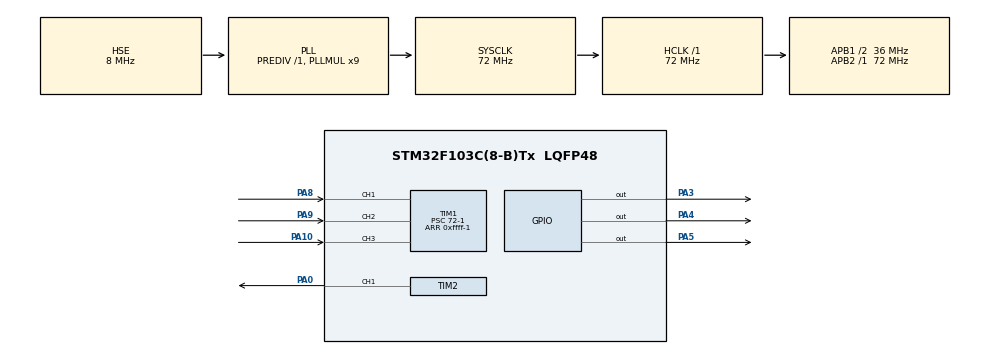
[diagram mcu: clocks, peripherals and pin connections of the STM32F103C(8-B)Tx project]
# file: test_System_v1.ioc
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Dma.Request0=TIM2_CH1
Dma.TIM2_CH1.0.Direction=DMA_MEMORY_TO_PERIPH
Dma.TIM2_CH1.0.Instance=DMA1_Channel5
Dma.TIM2_CH1.0.MemDataAlignment=DMA_MDATAALIGN_HALFWORD
Dma.TIM2_CH1.0.MemInc=DMA_MINC_ENABLE
Dma.TIM2_CH1.0.Mode=DMA_NORMAL
Dma.TIM2_CH1.0.PeriphDataAlignment=DMA_PDATAALIGN_HALFWORD
Dma.TIM2_CH1.0.PeriphInc=DMA_PINC_DISABLE
Dma.TIM2_CH1.0.Priority=DMA_PRIORITY_LOW
Mcu.Family=STM32F1
Mcu.Name=STM32F103C(8-B)Tx
Mcu.Package=LQFP48
NVIC.DMA1_Channel5_IRQn=true\:0\:0\:false\:false\:true\:false\:true\:true
NVIC.PriorityGroup=NVIC_PRIORITYGROUP_4
NVIC.TIM1_CC_IRQn=true\:0\:0\:false\:false\:true\:true\:true\:true
PA0-WKUP.Signal=S_TIM2_CH1_ETR
PA10.Signal=S_TIM1_CH3
PA13.Mode=Serial_Wire
PA13.Signal=SYS_JTMS-SWDIO
PA14.Mode=Serial_Wire
PA14.Signal=SYS_JTCK-SWCLK
PA3.Signal=GPIO_Output
PA4.Signal=GPIO_Output
PA5.Signal=GPIO_Output
PA8.Signal=S_TIM1_CH1
PA9.Signal=S_TIM1_CH2
PD0-OSC_IN.Mode=HSE-External-Oscillator
PD0-OSC_IN.Signal=RCC_OSC_IN
PD1-OSC_OUT.Mode=HSE-External-Oscillator
PD1-OSC_OUT.Signal=RCC_OSC_OUT
ProjectManager.HeapSize=0x200
ProjectManager.StackSize=0x400
ProjectManager.TargetToolchain=STM32CubeIDE
RCC.AHBFreq_Value=72000000
RCC.APB1CLKDivider=RCC_HCLK_DIV2
RCC.APB1Freq_Value=36000000
RCC.APB1TimFreq_Value=72000000
RCC.APB2Freq_Value=72000000
RCC.APB2TimFreq_Value=72000000
RCC.HCLKFreq_Value=72000000
RCC.PLLMUL=RCC_PLL_MUL9
RCC.PLLSourceVirtual=RCC_PLLSOURCE_HSE
RCC.SYSCLKFreq_VALUE=72000000
RCC.SYSCLKSource=RCC_SYSCLKSOURCE_PLLCLK
RCC.USBFreq_Value=72000000
SH.S_TIM1_CH1.0=TIM1_CH1,Input_Capture1_from_TI1
SH.S_TIM1_CH2.0=TIM1_CH2,Input_Capture2_from_TI2
SH.S_TIM1_CH3.0=TIM1_CH3,Input_Capture3_from_TI3
SH.S_TIM2_CH1_ETR.0=TIM2_CH1,PWM Generation1 CH1
TIM1.Channel-Input_Capture1_from_TI1=TIM_CHANNEL_1
TIM1.Channel-Input_Capture2_from_TI2=TIM_CHANNEL_2
TIM1.Channel-Input_Capture3_from_TI3=TIM_CHANNEL_3
TIM1.Period=0xffff-1
TIM1.Prescaler=72-1
TIM2.Channel-PWM\ Generation1\ CH1=TIM_CHANNEL_1
TIM2.Period=100-1
TIM2.Prescaler=72-1
VP_TIM1_VS_ClockSourceINT.Mode=Internal
VP_TIM2_VS_ClockSourceINT.Mode=Internal
board=custom

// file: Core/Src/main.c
/* USER CODE BEGIN Header */
/**
  ******************************************************************************
  * @file           : main.c
  * @brief          : Main program body
  ******************************************************************************
  * @attention
  *
  * Copyright (c) 2024 STMicroelectronics.
  * All rights reserved.
  *
  * This software is licensed under terms that can be found in the LICENSE file
  * in the root directory of this software component.
  * If no LICENSE file comes with this software, it is provided AS-IS.
  *
  ******************************************************************************
  */
/* USER CODE END Header */
#include "main.h"

TIM_HandleTypeDef htim1;
TIM_HandleTypeDef htim2;
DMA_HandleTypeDef hdma_tim2_ch1;

/* USER CODE BEGIN PV */

motor_t motor;

sr04_t sr04_1;
sr04_t sr04_2;
sr04_t sr04_3;

/* USER CODE END PV */

void SystemClock_Config(void);
static void MX_GPIO_Init(void);
static void MX_DMA_Init(void);
static void MX_TIM1_Init(void);
static void MX_TIM2_Init(void);

int main(void)
{

  /* MCU Configuration--------------------------------------------------------*/

  /* Reset of all peripherals, Initializes the Flash interface and the Systick. */
  HAL_Init();

  /* Configure the system clock */
  SystemClock_Config();

  /* Initialize all configured peripherals */
  MX_GPIO_Init();
  MX_DMA_Init();
  MX_TIM1_Init();
  MX_TIM2_Init();
  /* USER CODE BEGIN 2 */

  /* Motor Config */
  motor.motor_channel = TIM_CHANNEL_1;
  motor.motor_htim = &htim2;
  motor.motor_htim->Instance->CCR1 = 0;
  motor.distance = 200000;
  motor_init(&motor);

  /* Sensor 1 Config */
  sr04_1.trig_port = GPIOA;
  sr04_1.trig_pin = GPIO_PIN_3;
  sr04_1.echo_htim = &htim1;
  sr04_1.echo_channel = TIM_CHANNEL_1;
  //sr04_1.motor = motor;
  sr04_init(&sr04_1);

  /* Sensor 2 Config */
  sr04_2.trig_port = GPIOA;
  sr04_2.trig_pin = GPIO_PIN_4;
  sr04_2.echo_htim = &htim1;
  sr04_2.echo_channel = TIM_CHANNEL_2;
  //sr04_2.motor = motor;
  sr04_init(&sr04_2);

  /* Sensor 3 Config */
  sr04_3.trig_port = GPIOA;
  sr04_3.trig_pin = GPIO_PIN_5;
  sr04_3.echo_htim = &htim1;
  sr04_3.echo_channel = TIM_CHANNEL_3;
  //sr04_3.motor = motor;
  sr04_init(&sr04_3);

  /* USER CODE END 2 */

  /* Infinite loop */
  while (1){

    /* USER CODE BEGIN 3 */
	sr04_trigger(&sr04_1);
	sr04_trigger(&sr04_2);
	sr04_trigger(&sr04_3);

	motor_pulse(motor);
  }
  /* USER CODE END 3 */
}

void SystemClock_Config(void)
{
  RCC_OscInitTypeDef RCC_OscInitStruct = {0};
  RCC_ClkInitTypeDef RCC_ClkInitStruct = {0};

  /** Initializes the RCC Oscillators according to the specified parameters
  * in the RCC_OscInitTypeDef structure.
  */
  RCC_OscInitStruct.OscillatorType = RCC_OSCILLATORTYPE_HSE;
  RCC_OscInitStruct.HSEState = RCC_HSE_ON;
  RCC_OscInitStruct.HSEPredivValue = RCC_HSE_PREDIV_DIV1;
  RCC_OscInitStruct.HSIState = RCC_HSI_ON;
  RCC_OscInitStruct.PLL.PLLState = RCC_PLL_ON;
  RCC_OscInitStruct.PLL.PLLSource = RCC_PLLSOURCE_HSE;
  RCC_OscInitStruct.PLL.PLLMUL = RCC_PLL_MUL9;
  if (HAL_RCC_OscConfig(&RCC_OscInitStruct) != HAL_OK)
  {
    Error_Handler();
  }

  /** Initializes the CPU, AHB and APB buses clocks
  */
  RCC_ClkInitStruct.ClockType = RCC_CLOCKTYPE_HCLK|RCC_CLOCKTYPE_SYSCLK
                              |RCC_CLOCKTYPE_PCLK1|RCC_CLOCKTYPE_PCLK2;
  RCC_ClkInitStruct.SYSCLKSource = RCC_SYSCLKSOURCE_PLLCLK;
  RCC_ClkInitStruct.AHBCLKDivider = RCC_SYSCLK_DIV1;
  RCC_ClkInitStruct.APB1CLKDivider = RCC_HCLK_DIV2;
  RCC_ClkInitStruct.APB2CLKDivider = RCC_HCLK_DIV1;

  if (HAL_RCC_ClockConfig(&RCC_ClkInitStruct, FLASH_LATENCY_2) != HAL_OK)
  {
    Error_Handler();
  }
}

static void MX_TIM1_Init(void)
{

  TIM_ClockConfigTypeDef sClockSourceConfig = {0};
  TIM_MasterConfigTypeDef sMasterConfig = {0};
  TIM_IC_InitTypeDef sConfigIC = {0};

  htim1.Instance = TIM1;
  htim1.Init.Prescaler = 72-1;
  htim1.Init.CounterMode = TIM_COUNTERMODE_UP;
  htim1.Init.Period = 0xffff-1;
  htim1.Init.ClockDivision = TIM_CLOCKDIVISION_DIV1;
  htim1.Init.RepetitionCounter = 0;
  htim1.Init.AutoReloadPreload = TIM_AUTORELOAD_PRELOAD_DISABLE;
  if (HAL_TIM_Base_Init(&htim1) != HAL_OK)
  {
    Error_Handler();
  }
  sClockSourceConfig.ClockSource = TIM_CLOCKSOURCE_INTERNAL;
  if (HAL_TIM_ConfigClockSource(&htim1, &sClockSourceConfig) != HAL_OK)
  {
    Error_Handler();
  }
  if (HAL_TIM_IC_Init(&htim1) != HAL_OK)
  {
    Error_Handler();
  }
  sMasterConfig.MasterOutputTrigger = TIM_TRGO_RESET;
  sMasterConfig.MasterSlaveMode = TIM_MASTERSLAVEMODE_DISABLE;
  if (HAL_TIMEx_MasterConfigSynchronization(&htim1, &sMasterConfig) != HAL_OK)
  {
    Error_Handler();
  }
  sConfigIC.ICPolarity = TIM_INPUTCHANNELPOLARITY_RISING;
  sConfigIC.ICSelection = TIM_ICSELECTION_DIRECTTI;
  sConfigIC.ICPrescaler = TIM_ICPSC_DIV1;
  sConfigIC.ICFilter = 0;
  if (HAL_TIM_IC_ConfigChannel(&htim1, &sConfigIC, TIM_CHANNEL_1) != HAL_OK)
  {
    Error_Handler();
  }
  if (HAL_TIM_IC_ConfigChannel(&htim1, &sConfigIC, TIM_CHANNEL_2) != HAL_OK)
  {
    Error_Handler();
  }
  if (HAL_TIM_IC_ConfigChannel(&htim1, &sConfigIC, TIM_CHANNEL_3) != HAL_OK)
  {
    Error_Handler();
  }

}

static void MX_TIM2_Init(void)
{

  TIM_ClockConfigTypeDef sClockSourceConfig = {0};
  TIM_MasterConfigTypeDef sMasterConfig = {0};
  TIM_OC_InitTypeDef sConfigOC = {0};

  htim2.Instance = TIM2;
  htim2.Init.Prescaler = 72-1;
  htim2.Init.CounterMode = TIM_COUNTERMODE_UP;
  htim2.Init.Period = 100-1;
  htim2.Init.ClockDivision = TIM_CLOCKDIVISION_DIV1;
  htim2.Init.AutoReloadPreload = TIM_AUTORELOAD_PRELOAD_DISABLE;
  if (HAL_TIM_Base_Init(&htim2) != HAL_OK)
  {
    Error_Handler();
  }
  sClockSourceConfig.ClockSource = TIM_CLOCKSOURCE_INTERNAL;
  if (HAL_TIM_ConfigClockSource(&htim2, &sClockSourceConfig) != HAL_OK)
  {
    Error_Handler();
  }
  if (HAL_TIM_PWM_Init(&htim2) != HAL_OK)
  {
    Error_Handler();
  }
  sMasterConfig.MasterOutputTrigger = TIM_TRGO_RESET;
  sMasterConfig.MasterSlaveMode = TIM_MASTERSLAVEMODE_DISABLE;
  if (HAL_TIMEx_MasterConfigSynchronization(&htim2, &sMasterConfig) != HAL_OK)
  {
    Error_Handler();
  }
  sConfigOC.OCMode = TIM_OCMODE_PWM1;
  sConfigOC.Pulse = 0;
  sConfigOC.OCPolarity = TIM_OCPOLARITY_HIGH;
  sConfigOC.OCFastMode = TIM_OCFAST_DISABLE;
  if (HAL_TIM_PWM_ConfigChannel(&htim2, &sConfigOC, TIM_CHANNEL_1) != HAL_OK)
  {
    Error_Handler();
  }
  HAL_TIM_MspPostInit(&htim2);

}

static void MX_DMA_Init(void)
{

  /* DMA controller clock enable */
  __HAL_RCC_DMA1_CLK_ENABLE();

  /* DMA interrupt init */
  /* DMA1_Channel5_IRQn interrupt configuration */
  HAL_NVIC_SetPriority(DMA1_Channel5_IRQn, 0, 0);
  HAL_NVIC_EnableIRQ(DMA1_Channel5_IRQn);

}

static void MX_GPIO_Init(void)
{
  GPIO_InitTypeDef GPIO_InitStruct = {0};

  /* GPIO Ports Clock Enable */
  __HAL_RCC_GPIOD_CLK_ENABLE();
  __HAL_RCC_GPIOA_CLK_ENABLE();

  /*Configure GPIO pin Output Level */
  HAL_GPIO_WritePin(GPIOA, GPIO_PIN_3|GPIO_PIN_4|GPIO_PIN_5, GPIO_PIN_RESET);

  /*Configure GPIO pins : PA3 PA4 PA5 */
  GPIO_InitStruct.Pin = GPIO_PIN_3|GPIO_PIN_4|GPIO_PIN_5;
  GPIO_InitStruct.Mode = GPIO_MODE_OUTPUT_PP;
  GPIO_InitStruct.Pull = GPIO_NOPULL;
  GPIO_InitStruct.Speed = GPIO_SPEED_FREQ_LOW;
  HAL_GPIO_Init(GPIOA, &GPIO_InitStruct);

}

void Error_Handler(void)
{
  __disable_irq();
  while (1)
  {
  }
}
